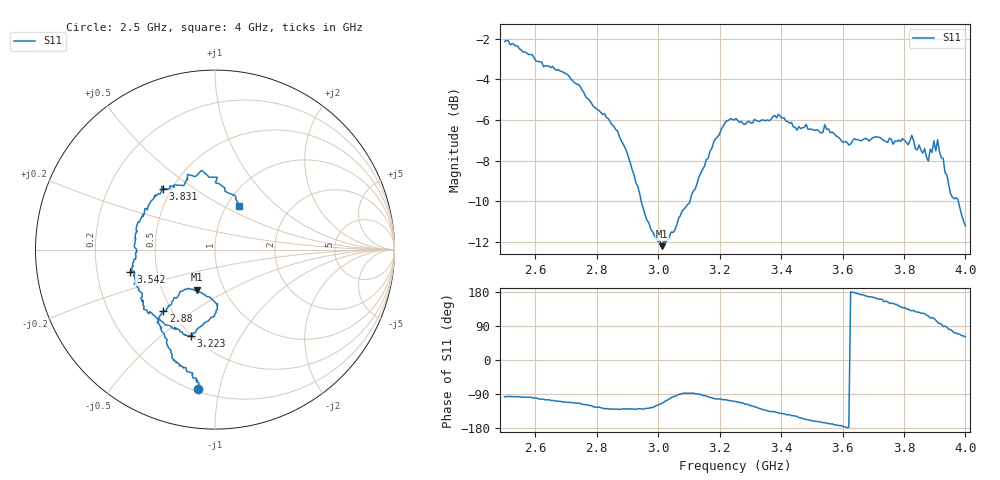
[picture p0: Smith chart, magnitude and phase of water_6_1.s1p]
# MHz S MA R 50
!  freq  S11
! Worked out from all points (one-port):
!   250 points, 2.5 GHz to 4 GHz, reference 50 ohm
!   lowest |S11| = -12.2 dB at 3.012 GHz (marker M1), VSWR 1.65, Z = 37.2 - j17.7 ohm
!   |S11| at or under -10 dB: 2.945 GHz to 3.103 GHz (158.5 MHz wide, 5.24 % of centre); 3.977 GHz to end of sweep
!   S11 on the Smith chart (normalised r, x): 2.5 GHz: 0.22, -0.86; 2.88 GHz: 0.45, -0.38; 3.223 GHz: 0.50, -0.63; 3.542 GHz: 0.35, -0.11; 3.831 GHz: 0.45, +0.38; 4 GHz: 1.14, +0.60
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2500  0.7809 -96.9
2584.337  0.7259 -98.2
2692.771  0.655 -110.3
2825.301  0.5188 -128.6
2879.518  0.4466 -130.2
2951.807  0.3034 -129.8
3012.048  0.2456 -114.3
3066.265  0.2873 -91.2
3138.554  0.371 -90.4
3222.892  0.4988 -105.6
3253.012  0.5055 -109.5
3391.566  0.5178 -140.0
3439.759  0.4822 -147.1
3542.169  0.4879 -165.2
3626.506  0.4373 179.8
3722.892  0.4538 160.4
3795.181  0.4511 137.5
3813.253  0.4353 134.8
3831.325  0.4464 130.8
3867.47  0.4264 122.4
3879.518  0.3968 115.9
3897.59  0.4456 110.0
3903.614  0.4209 104.9
3909.639  0.4479 99.5
3927.711  0.4031 88.1
3933.735  0.3725 89.6
3963.855  0.321 71.7
4000  0.2752 61.3
